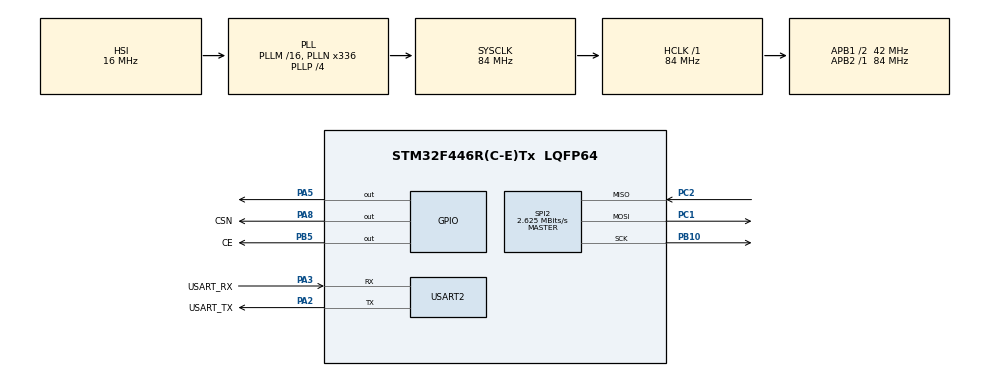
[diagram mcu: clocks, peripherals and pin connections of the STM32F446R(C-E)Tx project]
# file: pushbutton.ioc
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Mcu.Family=STM32F4
Mcu.Name=STM32F446R(C-E)Tx
Mcu.Package=LQFP64
NUCLEO-F446RE.BUTTON=0
NUCLEO-F446RE.Bsp_Common_DEMO=true
NUCLEO-F446RE.LD1=false
NVIC.PriorityGroup=NVIC_PRIORITYGROUP_0
NVIC.SPI2_IRQn=true\:0\:0\:false\:false\:true\:true\:true\:true
NVIC.TIM2_IRQn=true\:0\:0\:false\:false\:true\:true\:true\:true
PA13.GPIO_Label=TMS
PA13.Signal=SYS_JTMS-SWDIO
PA14.GPIO_Label=TCK
PA14.Signal=SYS_JTCK-SWCLK
PA2.GPIO_Label=USART_TX
PA2.Mode=Asynchronous
PA2.Signal=USART2_TX
PA3.GPIO_Label=USART_RX
PA3.Mode=Asynchronous
PA3.Signal=USART2_RX
PA5.Signal=GPIO_Output
PA8.GPIO_Label=CSN
PA8.PinState=GPIO_PIN_SET
PA8.Signal=GPIO_Output
PB10.Mode=Full_Duplex_Master
PB10.Signal=SPI2_SCK
PB3.GPIO_Label=SWO
PB3.Signal=SYS_JTDO-SWO
PB5.GPIO_Label=CE
PB5.Signal=GPIO_Output
PC1.Mode=Full_Duplex_Master
PC1.Signal=SPI2_MOSI
PC14-OSC32_IN.Signal=RCC_OSC32_IN
PC15-OSC32_OUT.Signal=RCC_OSC32_OUT
PC2.Mode=Full_Duplex_Master
PC2.Signal=SPI2_MISO
PH0-OSC_IN.Signal=RCC_OSC_IN
PH1-OSC_OUT.Signal=RCC_OSC_OUT
ProjectManager.HeapSize=0x200
ProjectManager.StackSize=0x400
ProjectManager.TargetToolchain=CMake
RCC.AHBFreq_Value=84000000
RCC.APB1CLKDivider=RCC_HCLK_DIV2
RCC.APB1Freq_Value=42000000
RCC.APB1TimFreq_Value=84000000
RCC.APB2Freq_Value=84000000
RCC.APB2TimFreq_Value=84000000
RCC.CortexFreq_Value=84000000
RCC.FLatency-AdvancedSettings=FLASH_LATENCY_2
RCC.HCLKFreq_Value=84000000
RCC.HSE_VALUE=8000000
RCC.HSI_VALUE=16000000
RCC.LSE_VALUE=32768
RCC.PLLN=336
RCC.PLLP=RCC_PLLP_DIV4
RCC.SYSCLKFreq_VALUE=84000000
RCC.SYSCLKSource=RCC_SYSCLKSOURCE_PLLCLK
RCC.USBFreq_Value=168000000
RCC.VCOOutputFreq_Value=336000000
SPI2.BaudRatePrescaler=SPI_BAUDRATEPRESCALER_16
SPI2.CalculateBaudRate=2.625 MBits/s
SPI2.Direction=SPI_DIRECTION_2LINES
SPI2.Mode=SPI_MODE_MASTER
SPI2.VirtualType=VM_MASTER
TIM2.AutoReloadPreload=TIM_AUTORELOAD_PRELOAD_ENABLE
TIM2.Period=167999
TIM2.Prescaler=0
USART2.VirtualMode=VM_ASYNC
VP_NUCLEO-F446RE_VS_BSP_COMMON.Mode=COMMON
VP_TIM2_VS_ClockSourceINT.Mode=Internal
board=NUCLEO-F446RE

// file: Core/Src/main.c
/* USER CODE BEGIN Header */
/**
  ******************************************************************************
  * @file           : main.c
  * @brief          : Main program body
  ******************************************************************************
  * @attention
  *
  * Copyright (c) 2026 STMicroelectronics.
  * All rights reserved.
  *
  * This software is licensed under terms that can be found in the LICENSE file
  * in the root directory of this software component.
  * If no LICENSE file comes with this software, it is provided AS-IS.
  *
  ******************************************************************************
  */
/* USER CODE END Header */

/* USER CODE BEGIN Includes */
#include "main.h"
#include "stm32f4xx_hal.h"
#include "stm32f4xx_hal_def.h"
#include "stm32f4xx_hal_gpio.h"
#include "stm32f4xx_hal_spi.h"
#include <stdint.h>
#include <stdio.h>
#include "../../Radio/Inc/nrf24l01.h"

/* USER CODE END Includes */

/* USER CODE BEGIN PD */
#define NRF24_PAYLOAD_LEN 4u
#define NODE_ROLE_TX 0 // transmitter =1 and receiver =0

/* USER CODE END PD */

SPI_HandleTypeDef hspi2;

TIM_HandleTypeDef htim2;

UART_HandleTypeDef huart2;

void SystemClock_Config(void);
static void MX_GPIO_Init(void);
static void MX_TIM2_Init(void);
static void MX_USART2_UART_Init(void);
static void MX_SPI2_Init(void);

/* USER CODE BEGIN 0 */

void HAL_TIM_PeriodElapsedCallback(TIM_HandleTypeDef *htim) {
  HAL_GPIO_TogglePin(GPIOA, GPIO_PIN_5);
}

/* USER CODE END 0 */

int main(void)
{

  /* MCU Configuration--------------------------------------------------------*/

  /* Reset of all peripherals, Initializes the Flash interface and the Systick. */
  HAL_Init();

  /* Configure the system clock */
  SystemClock_Config();

  /* Initialize all configured peripherals */
  MX_GPIO_Init();
  MX_TIM2_Init();
  MX_USART2_UART_Init();
  MX_SPI2_Init();
  /* USER CODE BEGIN 2 */

  HAL_Delay(100);

  if (nrf_init(&hspi2) != HAL_OK) {
    const char msg[] = "nrf_init FAILED\r\n";
    HAL_UART_Transmit(&huart2, (uint8_t *)msg, sizeof(msg) - 1, 100);
  }

  // Primary transmitter (PTX) address and receive address data pipe 0
   const uint8_t addr[5] = {0xE7, 0xE7, 0xE7, 0xE7, 0xE7};

  // radio config, same on board boards eexcept CONFIG and CE
  nrf_write_reg(NRF_REG_CONFIG, 0x00); // power radio down while changing settins
  nrf_write_reg(NRF_REG_RF_CH, 0x2A);
  nrf_write_reg(NRF_REG_RF_SETUP, 0x06);
  nrf_write_reg(NRF_REG_SETUP_AW, 0x03); // set to 5 byte addresses
  nrf_write_reg(NRF_REG_EN_AA, 0x01);
  nrf_write_reg(NRF_REG_EN_RXADDR, 0x01); // enable pipe 0 only
  nrf_write_reg(NRF_REG_SETUP_RETR, 0x13); // retry delay 500 us 3 retries

  nrf_write_buf(NRF_REG_TX_ADDR, addr, 5);      // who we send to
  nrf_write_buf(NRF_REG_RX_ADDR_P0, addr, 5);   // same address: RX listens here, TX hears its ack here
  nrf_write_reg(NRF_REG_RX_PW_P0, NRF24_PAYLOAD_LEN);

  nrf_cmd(NRF_FLUSH_TX);
  nrf_cmd(NRF_FLUSH_RX);
  nrf_write_reg(NRF_REG_STATUS, NRF_STATUS_RX_DR | NRF_STATUS_TX_DS | NRF_STATUS_MAX_RT);

  // Power radio on for both boards!
  #if NODE_ROLE_TX
    nrf_write_reg(NRF_REG_CONFIG, NRF_CONFIG_EN_CRC | NRF_CONFIG_PWR_UP);
    HAL_Delay(2); // POWER up time is about 1.5ms
  #else
    // set primary receiver bits
    nrf_write_reg(NRF_REG_CONFIG, NRF_CONFIG_EN_CRC | NRF_CONFIG_PWR_UP | NRF_CONFIG_PRIM_RX);
    HAL_Delay(2);
    HAL_GPIO_WritePin(CE_GPIO_Port, CE_Pin, GPIO_PIN_SET);   // start listening, leave high
  #endif

  uint8_t cfg, ch, pw;
  nrf_read_reg(NRF_REG_CONFIG, &cfg);
  nrf_read_reg(NRF_REG_RF_CH, &ch);
  nrf_read_reg(NRF_REG_RX_PW_P0, &pw);
  char msg[64];
  int len = snprintf(msg, sizeof msg, "%s CONFIG=0x%02X RF_CH=0x%02X RX_PW_P0=%u\r\n",
                     NODE_ROLE_TX ? "TX" : "RX", cfg, ch, pw);
  HAL_UART_Transmit(&huart2, (uint8_t *)msg, len, 100);

  HAL_TIM_Base_Start_IT(&htim2);

  /* USER CODE END 2 */

  /* USER CODE BEGIN BSP */

  /* -- Sample board code to switch on leds ---- */
  BSP_LED_On(LED2);

  /* USER CODE END BSP */

  /* Infinite loop */
  while (1)
  {

    /* USER CODE BEGIN 3 */

    uint8_t status;

    #if NODE_ROLE_TX
      uint8_t payload[NRF24_PAYLOAD_LEN] = {1,2,3,4};
      nrf_write_payload(payload, NRF24_PAYLOAD_LEN);

      HAL_GPIO_WritePin(CE_GPIO_Port, CE_Pin, GPIO_PIN_SET );
      HAL_Delay(1);
      HAL_GPIO_WritePin(CE_GPIO_Port, CE_Pin, GPIO_PIN_RESET );

      uint32_t start = HAL_GetTick();
      do {
        nrf_read_reg(NRF_REG_STATUS, &status);
      } while (!(status & (NRF_STATUS_TX_DS | NRF_STATUS_MAX_RT)) && (HAL_GetTick() - start)<10);

      if (status & NRF_STATUS_TX_DS) {
        const char msg[] = "TX success \r\n";
        HAL_UART_Transmit(&huart2, (uint8_t *)msg, sizeof(msg) - 1, 100);

      } else if (status & NRF_STATUS_MAX_RT){
        const char msg[] = "MAX number of retransmits \r\n";
        HAL_UART_Transmit(&huart2, (uint8_t *)msg, sizeof(msg) - 1, 100);
        nrf_cmd(NRF_FLUSH_TX); // failed packet still in outbox

      } else {
        const char msg[] = " Timeout. Neither light came on \r\n";
        HAL_UART_Transmit(&huart2, (uint8_t *)msg, sizeof(msg) - 1, 100);

      }
      //status reg is write 1 to clear
      nrf_write_reg(NRF_REG_STATUS, NRF_STATUS_TX_DS | NRF_STATUS_MAX_RT); //clear both of the TX flags
      HAL_Delay(500);
    #else
    // if the board is the RX board
      nrf_read_reg(NRF_REG_STATUS, &status);
      if( status & NRF_STATUS_RX_DR) {
        uint8_t payload[NRF24_PAYLOAD_LEN];
        nrf_read_payload(payload, NRF24_PAYLOAD_LEN);
        // print 4 bytes
        char msg[40];
        int len = snprintf(msg, sizeof msg, "RX received: %u %u %u %u \r\n",
              payload[0],payload[1],payload[2],payload[3]);
        HAL_UART_Transmit(&huart2, (uint8_t *)msg, len, 100);
        nrf_write_reg(NRF_REG_STATUS, NRF_STATUS_RX_DR);
      }
    #endif

  }
  /* USER CODE END 3 */
}

void SystemClock_Config(void)
{
  RCC_OscInitTypeDef RCC_OscInitStruct = {0};
  RCC_ClkInitTypeDef RCC_ClkInitStruct = {0};

  /** Configure the main internal regulator output voltage
  */
  __HAL_RCC_PWR_CLK_ENABLE();
  __HAL_PWR_VOLTAGESCALING_CONFIG(PWR_REGULATOR_VOLTAGE_SCALE3);

  /** Initializes the RCC Oscillators according to the specified parameters
  * in the RCC_OscInitTypeDef structure.
  */
  RCC_OscInitStruct.OscillatorType = RCC_OSCILLATORTYPE_HSI;
  RCC_OscInitStruct.HSIState = RCC_HSI_ON;
  RCC_OscInitStruct.HSICalibrationValue = RCC_HSICALIBRATION_DEFAULT;
  RCC_OscInitStruct.PLL.PLLState = RCC_PLL_ON;
  RCC_OscInitStruct.PLL.PLLSource = RCC_PLLSOURCE_HSI;
  RCC_OscInitStruct.PLL.PLLM = 16;
  RCC_OscInitStruct.PLL.PLLN = 336;
  RCC_OscInitStruct.PLL.PLLP = RCC_PLLP_DIV4;
  RCC_OscInitStruct.PLL.PLLQ = 2;
  RCC_OscInitStruct.PLL.PLLR = 2;
  if (HAL_RCC_OscConfig(&RCC_OscInitStruct) != HAL_OK)
  {
    Error_Handler();
  }

  /** Initializes the CPU, AHB and APB buses clocks
  */
  RCC_ClkInitStruct.ClockType = RCC_CLOCKTYPE_HCLK|RCC_CLOCKTYPE_SYSCLK
                              |RCC_CLOCKTYPE_PCLK1|RCC_CLOCKTYPE_PCLK2;
  RCC_ClkInitStruct.SYSCLKSource = RCC_SYSCLKSOURCE_PLLCLK;
  RCC_ClkInitStruct.AHBCLKDivider = RCC_SYSCLK_DIV1;
  RCC_ClkInitStruct.APB1CLKDivider = RCC_HCLK_DIV2;
  RCC_ClkInitStruct.APB2CLKDivider = RCC_HCLK_DIV1;

  if (HAL_RCC_ClockConfig(&RCC_ClkInitStruct, FLASH_LATENCY_2) != HAL_OK)
  {
    Error_Handler();
  }
}

static void MX_SPI2_Init(void)
{

  /* SPI2 parameter configuration*/
  hspi2.Instance = SPI2;
  hspi2.Init.Mode = SPI_MODE_MASTER;
  hspi2.Init.Direction = SPI_DIRECTION_2LINES;
  hspi2.Init.DataSize = SPI_DATASIZE_8BIT;
  hspi2.Init.CLKPolarity = SPI_POLARITY_LOW;
  hspi2.Init.CLKPhase = SPI_PHASE_1EDGE;
  hspi2.Init.NSS = SPI_NSS_SOFT;
  hspi2.Init.BaudRatePrescaler = SPI_BAUDRATEPRESCALER_16;
  hspi2.Init.FirstBit = SPI_FIRSTBIT_MSB;
  hspi2.Init.TIMode = SPI_TIMODE_DISABLE;
  hspi2.Init.CRCCalculation = SPI_CRCCALCULATION_DISABLE;
  hspi2.Init.CRCPolynomial = 10;
  if (HAL_SPI_Init(&hspi2) != HAL_OK)
  {
    Error_Handler();
  }

}

static void MX_TIM2_Init(void)
{

  TIM_ClockConfigTypeDef sClockSourceConfig = {0};
  TIM_MasterConfigTypeDef sMasterConfig = {0};

  htim2.Instance = TIM2;
  htim2.Init.Prescaler = 0;
  htim2.Init.CounterMode = TIM_COUNTERMODE_UP;
  htim2.Init.Period = 167999;
  htim2.Init.ClockDivision = TIM_CLOCKDIVISION_DIV1;
  htim2.Init.AutoReloadPreload = TIM_AUTORELOAD_PRELOAD_ENABLE;
  if (HAL_TIM_Base_Init(&htim2) != HAL_OK)
  {
    Error_Handler();
  }
  sClockSourceConfig.ClockSource = TIM_CLOCKSOURCE_INTERNAL;
  if (HAL_TIM_ConfigClockSource(&htim2, &sClockSourceConfig) != HAL_OK)
  {
    Error_Handler();
  }
  sMasterConfig.MasterOutputTrigger = TIM_TRGO_RESET;
  sMasterConfig.MasterSlaveMode = TIM_MASTERSLAVEMODE_DISABLE;
  if (HAL_TIMEx_MasterConfigSynchronization(&htim2, &sMasterConfig) != HAL_OK)
  {
    Error_Handler();
  }

}

static void MX_USART2_UART_Init(void)
{

  huart2.Instance = USART2;
  huart2.Init.BaudRate = 115200;
  huart2.Init.WordLength = UART_WORDLENGTH_8B;
  huart2.Init.StopBits = UART_STOPBITS_1;
  huart2.Init.Parity = UART_PARITY_NONE;
  huart2.Init.Mode = UART_MODE_TX_RX;
  huart2.Init.HwFlowCtl = UART_HWCONTROL_NONE;
  huart2.Init.OverSampling = UART_OVERSAMPLING_16;
  if (HAL_UART_Init(&huart2) != HAL_OK)
  {
    Error_Handler();
  }

}

static void MX_GPIO_Init(void)
{
  GPIO_InitTypeDef GPIO_InitStruct = {0};

  /* GPIO Ports Clock Enable */
  __HAL_RCC_GPIOC_CLK_ENABLE();
  __HAL_RCC_GPIOH_CLK_ENABLE();
  __HAL_RCC_GPIOA_CLK_ENABLE();
  __HAL_RCC_GPIOB_CLK_ENABLE();

  /*Configure GPIO pin Output Level */
  HAL_GPIO_WritePin(GPIOA, GPIO_PIN_5, GPIO_PIN_RESET);

  /*Configure GPIO pin Output Level */
  HAL_GPIO_WritePin(CSN_GPIO_Port, CSN_Pin, GPIO_PIN_SET);

  /*Configure GPIO pin Output Level */
  HAL_GPIO_WritePin(CE_GPIO_Port, CE_Pin, GPIO_PIN_RESET);

  /*Configure GPIO pins : PA5 CSN_Pin */
  GPIO_InitStruct.Pin = GPIO_PIN_5|CSN_Pin;
  GPIO_InitStruct.Mode = GPIO_MODE_OUTPUT_PP;
  GPIO_InitStruct.Pull = GPIO_NOPULL;
  GPIO_InitStruct.Speed = GPIO_SPEED_FREQ_LOW;
  HAL_GPIO_Init(GPIOA, &GPIO_InitStruct);

  /*Configure GPIO pin : CE_Pin */
  GPIO_InitStruct.Pin = CE_Pin;
  GPIO_InitStruct.Mode = GPIO_MODE_OUTPUT_PP;
  GPIO_InitStruct.Pull = GPIO_NOPULL;
  GPIO_InitStruct.Speed = GPIO_SPEED_FREQ_LOW;
  HAL_GPIO_Init(CE_GPIO_Port, &GPIO_InitStruct);

}

void Error_Handler(void)
{
  __disable_irq();
  while (1)
  {
  }
}
